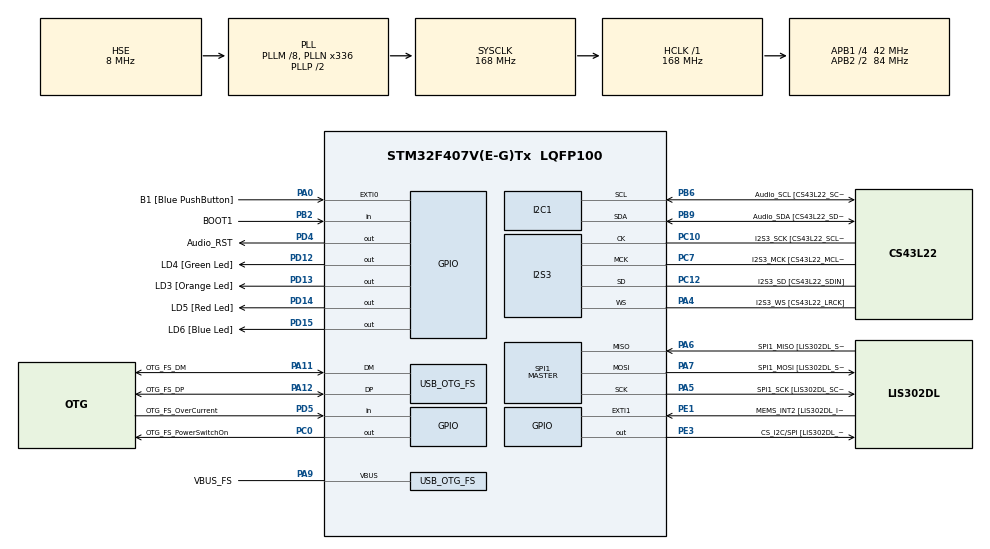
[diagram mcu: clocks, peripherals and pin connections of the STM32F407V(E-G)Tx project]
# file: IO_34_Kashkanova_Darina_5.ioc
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I2S3.AudioFreq-Half_Duplex_Master=I2S_AUDIOFREQ_96K
I2S3.ErrorAudioFreq=-2.34 %
I2S3.ErrorAudioFreq-Half_Duplex_Master=0.8 %
I2S3.FullDuplexMode=I2S_FULLDUPLEXMODE_DISABLE
I2S3.Instance=SPI$Index
I2S3.RealAudioFreq=93.75 KHz
I2S3.RealAudioFreq-Half_Duplex_Master=96.774 KHz
I2S3.VirtualMode=I2S_MODE_MASTER
Mcu.Family=STM32F4
Mcu.Name=STM32F407V(E-G)Tx
Mcu.Package=LQFP100
NVIC.OTG_FS_IRQn=true\:0\:0\:false\:false\:true\:true\:true\:true
NVIC.PriorityGroup=NVIC_PRIORITYGROUP_0
PA0-WKUP.GPIO_Label=B1 [Blue PushButton]
PA0-WKUP.GPIO_ModeDefaultEXTI=GPIO_MODE_EVT_RISING
PA0-WKUP.GPIO_PuPd=GPIO_NOPULL
PA0-WKUP.Signal=GPXTI0
PA10.GPIO_Label=OTG_FS_ID
PA10.GPIO_Mode=GPIO_MODE_AF_PP
PA10.GPIO_PuPd=GPIO_NOPULL
PA10.GPIO_Speed=GPIO_SPEED_FREQ_LOW
PA10.Signal=USB_OTG_FS_ID
PA11.GPIO_Label=OTG_FS_DM
PA11.GPIO_Mode=GPIO_MODE_AF_PP
PA11.GPIO_PuPd=GPIO_NOPULL
PA11.GPIO_Speed=GPIO_SPEED_FREQ_LOW
PA11.Mode=Host_Only
PA11.Signal=USB_OTG_FS_DM
PA12.GPIO_Label=OTG_FS_DP
PA12.GPIO_Mode=GPIO_MODE_AF_PP
PA12.GPIO_PuPd=GPIO_NOPULL
PA12.GPIO_Speed=GPIO_SPEED_FREQ_LOW
PA12.Mode=Host_Only
PA12.Signal=USB_OTG_FS_DP
PA13.GPIO_Label=SWDIO
PA13.Mode=Serial_Wire
PA13.Signal=SYS_JTMS-SWDIO
PA14.GPIO_Label=SWCLK
PA14.Mode=Serial_Wire
PA14.Signal=SYS_JTCK-SWCLK
PA4.GPIO_Label=I2S3_WS [CS43L22_LRCK]
PA4.GPIO_Mode=GPIO_MODE_AF_PP
PA4.GPIO_PuPd=GPIO_NOPULL
PA4.GPIO_Speed=GPIO_SPEED_FREQ_LOW
PA4.Mode=Half_Duplex_Master
PA4.Signal=I2S3_WS
PA5.GPIO_Label=SPI1_SCK [LIS302DL_SCL/SPC]
PA5.GPIO_Mode=GPIO_MODE_AF_PP
PA5.GPIO_PuPd=GPIO_NOPULL
PA5.GPIO_Speed=GPIO_SPEED_FREQ_LOW
PA5.Mode=Full_Duplex_Master
PA5.Signal=SPI1_SCK
PA6.GPIO_Label=SPI1_MISO [LIS302DL_SDO]
PA6.GPIO_Mode=GPIO_MODE_AF_PP
PA6.GPIO_PuPd=GPIO_NOPULL
PA6.GPIO_Speed=GPIO_SPEED_FREQ_LOW
PA6.Mode=Full_Duplex_Master
PA6.Signal=SPI1_MISO
PA7.GPIO_Label=SPI1_MOSI [LIS302DL_SDA/SDI/SDO]
PA7.GPIO_Mode=GPIO_MODE_AF_PP
PA7.GPIO_PuPd=GPIO_NOPULL
PA7.GPIO_Speed=GPIO_SPEED_FREQ_LOW
PA7.Mode=Full_Duplex_Master
PA7.Signal=SPI1_MOSI
PA9.GPIO_Label=VBUS_FS
PA9.GPIO_Mode=GPIO_MODE_INPUT
PA9.GPIO_PuPd=GPIO_NOPULL
PA9.Mode=Activate_VBUS
PA9.Signal=USB_OTG_FS_VBUS
PB10.GPIO_Label=CLK_IN [MP45DT02_CLK]
PB10.GPIO_Mode=GPIO_MODE_AF_PP
PB10.GPIO_PuPd=GPIO_NOPULL
PB10.GPIO_Speed=GPIO_SPEED_FREQ_LOW
PB10.Signal=I2S2_CK
PB2.GPIO_Label=BOOT1
PB2.GPIO_Mode=GPIO_MODE_INPUT
PB2.GPIO_PuPd=GPIO_NOPULL
PB2.Signal=GPIO_Input
PB3.GPIO_Label=SWO
PB3.Signal=SYS_JTDO-SWO
PB6.GPIO_Label=Audio_SCL [CS43L22_SCL]
PB6.GPIO_Mode=GPIO_MODE_AF_OD
PB6.GPIO_Pu=GPIO_PULLUP
PB6.GPIO_PuPd=GPIO_NOPULL
PB6.GPIO_Speed=GPIO_SPEED_FREQ_LOW
PB6.Mode=I2C
PB6.Signal=I2C1_SCL
PB9.GPIO_Label=Audio_SDA [CS43L22_SDA]
PB9.GPIO_Mode=GPIO_MODE_AF_OD
PB9.GPIO_Pu=GPIO_PULLUP
PB9.GPIO_PuPd=GPIO_NOPULL
PB9.GPIO_Speed=GPIO_SPEED_FREQ_LOW
PB9.Mode=I2C
PB9.Signal=I2C1_SDA
PC0.GPIO_Label=OTG_FS_PowerSwitchOn
PC0.GPIO_PuPd=GPIO_NOPULL
PC0.GPIO_Speed=GPIO_SPEED_FREQ_LOW
PC0.PinState=GPIO_PIN_SET
PC0.Signal=GPIO_Output
PC10.GPIO_Label=I2S3_SCK [CS43L22_SCLK]
PC10.GPIO_Mode=GPIO_MODE_AF_PP
PC10.GPIO_PuPd=GPIO_NOPULL
PC10.GPIO_Speed=GPIO_SPEED_FREQ_LOW
PC10.Mode=Half_Duplex_Master
PC10.Signal=I2S3_CK
PC12.GPIO_Label=I2S3_SD [CS43L22_SDIN]
PC12.GPIO_Mode=GPIO_MODE_AF_PP
PC12.GPIO_PuPd=GPIO_NOPULL
PC12.GPIO_Speed=GPIO_SPEED_FREQ_LOW
PC12.Mode=Half_Duplex_Master
PC12.Signal=I2S3_SD
PC14-OSC32_IN.GPIO_Label=PC14-OSC32_IN
PC14-OSC32_IN.Mode=LSE-External-Oscillator
PC14-OSC32_IN.Signal=RCC_OSC32_IN
PC15-OSC32_OUT.GPIO_Label=PC15-OSC32_OUT
PC15-OSC32_OUT.Mode=LSE-External-Oscillator
PC15-OSC32_OUT.Signal=RCC_OSC32_OUT
PC3.GPIO_Label=PDM_OUT [MP45DT02_DOUT]
PC3.GPIO_Mode=GPIO_MODE_AF_PP
PC3.GPIO_PuPd=GPIO_NOPULL
PC3.GPIO_Speed=GPIO_SPEED_FREQ_LOW
PC3.Signal=I2S2_SD
PC7.GPIO_Label=I2S3_MCK [CS43L22_MCLK]
PC7.GPIO_Mode=GPIO_MODE_AF_PP
PC7.GPIO_PuPd=GPIO_NOPULL
PC7.GPIO_Speed=GPIO_SPEED_FREQ_LOW
PC7.Mode=Master_Clock_Activated
PC7.Signal=I2S3_MCK
PD12.GPIO_Label=LD4 [Green Led]
PD12.GPIO_PuPd=GPIO_NOPULL
PD12.GPIO_Speed=GPIO_SPEED_FREQ_LOW
PD12.Signal=GPIO_Output
PD13.GPIO_Label=LD3 [Orange Led]
PD13.GPIO_PuPd=GPIO_NOPULL
PD13.GPIO_Speed=GPIO_SPEED_FREQ_LOW
PD13.Signal=GPIO_Output
PD14.GPIO_Label=LD5 [Red Led]
PD14.GPIO_PuPd=GPIO_NOPULL
PD14.GPIO_Speed=GPIO_SPEED_FREQ_LOW
PD14.Signal=GPIO_Output
PD15.GPIO_Label=LD6 [Blue Led]
PD15.GPIO_PuPd=GPIO_NOPULL
PD15.GPIO_Speed=GPIO_SPEED_FREQ_LOW
PD15.Signal=GPIO_Output
PD4.GPIO_Label=Audio_RST
PD4.Signal=GPIO_Output
PD5.GPIO_Label=OTG_FS_OverCurrent
PD5.GPIO_Mode=GPIO_MODE_INPUT
PD5.GPIO_PuPd=GPIO_NOPULL
PD5.Signal=GPIO_Input
PE1.GPIO_Label=MEMS_INT2 [LIS302DL_INT2]
PE1.GPIO_ModeDefaultEXTI=GPIO_MODE_EVT_RISING
PE1.GPIO_PuPd=GPIO_NOPULL
PE1.Signal=GPXTI1
PE3.GPIO_Label=CS_I2C/SPI [LIS302DL_CS_I2C/SPI]
PE3.GPIO_PuPd=GPIO_NOPULL
PE3.GPIO_Speed=GPIO_SPEED_FREQ_LOW
PE3.Signal=GPIO_Output
PH0-OSC_IN.GPIO_Label=PH0-OSC_IN
PH0-OSC_IN.Mode=HSE-External-Oscillator
PH0-OSC_IN.Signal=RCC_OSC_IN
PH1-OSC_OUT.GPIO_Label=PH1-OSC_OUT
PH1-OSC_OUT.Mode=HSE-External-Oscillator
PH1-OSC_OUT.Signal=RCC_OSC_OUT
ProjectManager.HeapSize=0x200
ProjectManager.StackSize=0x400
ProjectManager.TargetToolchain=STM32CubeIDE
RCC.48MHZClocksFreq_Value=48000000
RCC.AHBFreq_Value=168000000
RCC.APB1CLKDivider=RCC_HCLK_DIV4
RCC.APB1Freq_Value=42000000
RCC.APB1TimFreq_Value=84000000
RCC.APB2CLKDivider=RCC_HCLK_DIV2
RCC.APB2Freq_Value=84000000
RCC.APB2TimFreq_Value=168000000
RCC.CortexFreq_Value=168000000
RCC.HCLKFreq_Value=168000000
RCC.HSE_VALUE=8000000
RCC.HSI_VALUE=16000000
RCC.PLLM=8
RCC.PLLN=336
RCC.PLLQ=7
RCC.SYSCLKFreq_VALUE=168000000
RCC.SYSCLKSource=RCC_SYSCLKSOURCE_PLLCLK
RCC.VCOOutputFreq_Value=336000000
SPI1.BaudRatePrescaler-Full_Duplex_Master=SPI_BAUDRATEPRESCALER_2
SPI1.CalculateBaudRate-Full_Duplex_Master=42.0 MBits/s
SPI1.Direction=SPI_DIRECTION_2LINES
SPI1.Mode=SPI_MODE_MASTER
SPI1.Mode-Full_Duplex_Master=SPI_MODE_MASTER
SPI1.VirtualType=VM_MASTER
USB_HOST.BSP.number=1
USB_HOST.USBH_HandleTypeDef-CDC_FS=hUsbHostFS
USB_HOST.VirtualModeFS=Cdc
USB_HOST0.BSP.STBoard=false
USB_HOST0.BSP.api=Unknown
USB_HOST0.BSP.instance=PC0
USB_HOST0.BSP.ip=GPIO
USB_HOST0.BSP.mode=Output
USB_HOST0.BSP.name=Drive_VBUS_FS
USB_HOST0.BSP.solution=PC0
USB_OTG_FS.VirtualMode=Host_Only
USB_OTG_FS.phy_itface=HCD_PHY_EMBEDDED
VP_USB_HOST_VS_USB_HOST_CDC_FS.Mode=CDC_FS
board=STM32F407G-DISC1

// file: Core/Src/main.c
/* USER CODE BEGIN Header */
/**
  ******************************************************************************
  * @file           : main.c
  * @brief          : Main program body
  ******************************************************************************
  * @attention
  *
  * Copyright (c) 2026 STMicroelectronics.
  * All rights reserved.
  *
  * This software is licensed under terms that can be found in the LICENSE file
  * in the root directory of this software component.
  * If no LICENSE file comes with this software, it is provided AS-IS.
  *
  ******************************************************************************
  */
/* USER CODE END Header */
#include "main.h"
#include "usb_host.h"

I2C_HandleTypeDef hi2c1;

I2S_HandleTypeDef hi2s3;

SPI_HandleTypeDef hspi1;

void SystemClock_Config(void);
static void MX_GPIO_Init(void);
static void MX_I2C1_Init(void);
static void MX_I2S3_Init(void);
static void MX_SPI1_Init(void);
void MX_USB_HOST_Process(void);

/* USER CODE BEGIN PFP */
#define CS43L22_I2C_ADDR 0x94

void CS43L22_Write(uint8_t reg, uint8_t value) {
    uint8_t data[2] = {reg, value};
    HAL_I2C_Master_Transmit(&hi2c1, CS43L22_I2C_ADDR, data, 2, 100);
}

void CS43L22_Init(void) {

    HAL_GPIO_WritePin(GPIOD, Audio_RST_Pin, GPIO_PIN_SET);
    HAL_Delay(10);

    CS43L22_Write(0x02, 0x9E);
    CS43L22_Write(0x04, 0xAF);
    CS43L22_Write(0x1D, 0x05);
}

void Play_Note(uint8_t pitch, uint32_t duration) {
    CS43L22_Write(0x1C, pitch << 4);
    CS43L22_Write(0x1E, 0xC0);
    HAL_Delay(duration);
    CS43L22_Write(0x1E, 0x00);
}
/* USER CODE END PFP */

int main(void)
{

  /* MCU Configuration--------------------------------------------------------*/

  /* Reset of all peripherals, Initializes the Flash interface and the Systick. */
  HAL_Init();

  /* Configure the system clock */
  SystemClock_Config();

  /* Initialize all configured peripherals */
  MX_GPIO_Init();
  MX_I2C1_Init();
  MX_I2S3_Init();
  MX_SPI1_Init();
  MX_USB_HOST_Init();
  /* USER CODE BEGIN 2 */
    CS43L22_Init();
    int plays = 0;
    uint8_t melody[] = {0, 2, 4, 5, 7, 9, 11, 12};
  /* USER CODE END 2 */

  /* Infinite loop */
    /* USER CODE BEGIN WHILE */
      while (1)
      {
        if (plays < 3) {
            for (int i = 0; i < 8; i++) {
                uint16_t led = (GPIO_PIN_12 << (i % 4));
                HAL_GPIO_WritePin(GPIOD, led, GPIO_PIN_SET);

                Play_Note(melody[i], 250);

                HAL_GPIO_WritePin(GPIOD, led, GPIO_PIN_RESET);
                HAL_Delay(50);
            }
            plays++;
            HAL_Delay(1000);
        }

        /* USER CODE END WHILE */
        MX_USB_HOST_Process();

      }
  }

void SystemClock_Config(void)
{
  RCC_OscInitTypeDef RCC_OscInitStruct = {0};
  RCC_ClkInitTypeDef RCC_ClkInitStruct = {0};

  /** Configure the main internal regulator output voltage
  */
  __HAL_RCC_PWR_CLK_ENABLE();
  __HAL_PWR_VOLTAGESCALING_CONFIG(PWR_REGULATOR_VOLTAGE_SCALE1);

  /** Initializes the RCC Oscillators according to the specified parameters
  * in the RCC_OscInitTypeDef structure.
  */
  RCC_OscInitStruct.OscillatorType = RCC_OSCILLATORTYPE_HSE;
  RCC_OscInitStruct.HSEState = RCC_HSE_ON;
  RCC_OscInitStruct.PLL.PLLState = RCC_PLL_ON;
  RCC_OscInitStruct.PLL.PLLSource = RCC_PLLSOURCE_HSE;
  RCC_OscInitStruct.PLL.PLLM = 8;
  RCC_OscInitStruct.PLL.PLLN = 336;
  RCC_OscInitStruct.PLL.PLLP = RCC_PLLP_DIV2;
  RCC_OscInitStruct.PLL.PLLQ = 7;
  if (HAL_RCC_OscConfig(&RCC_OscInitStruct) != HAL_OK)
  {
    Error_Handler();
  }

  /** Initializes the CPU, AHB and APB buses clocks
  */
  RCC_ClkInitStruct.ClockType = RCC_CLOCKTYPE_HCLK|RCC_CLOCKTYPE_SYSCLK
                              |RCC_CLOCKTYPE_PCLK1|RCC_CLOCKTYPE_PCLK2;
  RCC_ClkInitStruct.SYSCLKSource = RCC_SYSCLKSOURCE_PLLCLK;
  RCC_ClkInitStruct.AHBCLKDivider = RCC_SYSCLK_DIV1;
  RCC_ClkInitStruct.APB1CLKDivider = RCC_HCLK_DIV4;
  RCC_ClkInitStruct.APB2CLKDivider = RCC_HCLK_DIV2;

  if (HAL_RCC_ClockConfig(&RCC_ClkInitStruct, FLASH_LATENCY_5) != HAL_OK)
  {
    Error_Handler();
  }
}

static void MX_I2C1_Init(void)
{

  hi2c1.Instance = I2C1;
  hi2c1.Init.ClockSpeed = 100000;
  hi2c1.Init.DutyCycle = I2C_DUTYCYCLE_2;
  hi2c1.Init.OwnAddress1 = 0;
  hi2c1.Init.AddressingMode = I2C_ADDRESSINGMODE_7BIT;
  hi2c1.Init.DualAddressMode = I2C_DUALADDRESS_DISABLE;
  hi2c1.Init.OwnAddress2 = 0;
  hi2c1.Init.GeneralCallMode = I2C_GENERALCALL_DISABLE;
  hi2c1.Init.NoStretchMode = I2C_NOSTRETCH_DISABLE;
  if (HAL_I2C_Init(&hi2c1) != HAL_OK)
  {
    Error_Handler();
  }

}

static void MX_I2S3_Init(void)
{

  hi2s3.Instance = SPI3;
  hi2s3.Init.Mode = I2S_MODE_MASTER_TX;
  hi2s3.Init.Standard = I2S_STANDARD_PHILIPS;
  hi2s3.Init.DataFormat = I2S_DATAFORMAT_16B;
  hi2s3.Init.MCLKOutput = I2S_MCLKOUTPUT_ENABLE;
  hi2s3.Init.AudioFreq = I2S_AUDIOFREQ_96K;
  hi2s3.Init.CPOL = I2S_CPOL_LOW;
  hi2s3.Init.ClockSource = I2S_CLOCK_PLL;
  hi2s3.Init.FullDuplexMode = I2S_FULLDUPLEXMODE_DISABLE;
  if (HAL_I2S_Init(&hi2s3) != HAL_OK)
  {
    Error_Handler();
  }

}

static void MX_SPI1_Init(void)
{

  /* SPI1 parameter configuration*/
  hspi1.Instance = SPI1;
  hspi1.Init.Mode = SPI_MODE_MASTER;
  hspi1.Init.Direction = SPI_DIRECTION_2LINES;
  hspi1.Init.DataSize = SPI_DATASIZE_8BIT;
  hspi1.Init.CLKPolarity = SPI_POLARITY_LOW;
  hspi1.Init.CLKPhase = SPI_PHASE_1EDGE;
  hspi1.Init.NSS = SPI_NSS_SOFT;
  hspi1.Init.BaudRatePrescaler = SPI_BAUDRATEPRESCALER_2;
  hspi1.Init.FirstBit = SPI_FIRSTBIT_MSB;
  hspi1.Init.TIMode = SPI_TIMODE_DISABLE;
  hspi1.Init.CRCCalculation = SPI_CRCCALCULATION_DISABLE;
  hspi1.Init.CRCPolynomial = 10;
  if (HAL_SPI_Init(&hspi1) != HAL_OK)
  {
    Error_Handler();
  }

}

static void MX_GPIO_Init(void)
{
  GPIO_InitTypeDef GPIO_InitStruct = {0};

  /* GPIO Ports Clock Enable */
  __HAL_RCC_GPIOE_CLK_ENABLE();
  __HAL_RCC_GPIOC_CLK_ENABLE();
  __HAL_RCC_GPIOH_CLK_ENABLE();
  __HAL_RCC_GPIOA_CLK_ENABLE();
  __HAL_RCC_GPIOB_CLK_ENABLE();
  __HAL_RCC_GPIOD_CLK_ENABLE();

  /*Configure GPIO pin Output Level */
  HAL_GPIO_WritePin(CS_I2C_SPI_GPIO_Port, CS_I2C_SPI_Pin, GPIO_PIN_RESET);

  /*Configure GPIO pin Output Level */
  HAL_GPIO_WritePin(OTG_FS_PowerSwitchOn_GPIO_Port, OTG_FS_PowerSwitchOn_Pin, GPIO_PIN_SET);

  /*Configure GPIO pin Output Level */
  HAL_GPIO_WritePin(GPIOD, LD4_Pin|LD3_Pin|LD5_Pin|LD6_Pin
                          |Audio_RST_Pin, GPIO_PIN_RESET);

  /*Configure GPIO pin : CS_I2C_SPI_Pin */
  GPIO_InitStruct.Pin = CS_I2C_SPI_Pin;
  GPIO_InitStruct.Mode = GPIO_MODE_OUTPUT_PP;
  GPIO_InitStruct.Pull = GPIO_NOPULL;
  GPIO_InitStruct.Speed = GPIO_SPEED_FREQ_LOW;
  HAL_GPIO_Init(CS_I2C_SPI_GPIO_Port, &GPIO_InitStruct);

  /*Configure GPIO pin : OTG_FS_PowerSwitchOn_Pin */
  GPIO_InitStruct.Pin = OTG_FS_PowerSwitchOn_Pin;
  GPIO_InitStruct.Mode = GPIO_MODE_OUTPUT_PP;
  GPIO_InitStruct.Pull = GPIO_NOPULL;
  GPIO_InitStruct.Speed = GPIO_SPEED_FREQ_LOW;
  HAL_GPIO_Init(OTG_FS_PowerSwitchOn_GPIO_Port, &GPIO_InitStruct);

  /*Configure GPIO pin : PDM_OUT_Pin */
  GPIO_InitStruct.Pin = PDM_OUT_Pin;
  GPIO_InitStruct.Mode = GPIO_MODE_AF_PP;
  GPIO_InitStruct.Pull = GPIO_NOPULL;
  GPIO_InitStruct.Speed = GPIO_SPEED_FREQ_LOW;
  GPIO_InitStruct.Alternate = GPIO_AF5_SPI2;
  HAL_GPIO_Init(PDM_OUT_GPIO_Port, &GPIO_InitStruct);

  /*Configure GPIO pin : B1_Pin */
  GPIO_InitStruct.Pin = B1_Pin;
  GPIO_InitStruct.Mode = GPIO_MODE_EVT_RISING;
  GPIO_InitStruct.Pull = GPIO_NOPULL;
  HAL_GPIO_Init(B1_GPIO_Port, &GPIO_InitStruct);

  /*Configure GPIO pin : BOOT1_Pin */
  GPIO_InitStruct.Pin = BOOT1_Pin;
  GPIO_InitStruct.Mode = GPIO_MODE_INPUT;
  GPIO_InitStruct.Pull = GPIO_NOPULL;
  HAL_GPIO_Init(BOOT1_GPIO_Port, &GPIO_InitStruct);

  /*Configure GPIO pin : CLK_IN_Pin */
  GPIO_InitStruct.Pin = CLK_IN_Pin;
  GPIO_InitStruct.Mode = GPIO_MODE_AF_PP;
  GPIO_InitStruct.Pull = GPIO_NOPULL;
  GPIO_InitStruct.Speed = GPIO_SPEED_FREQ_LOW;
  GPIO_InitStruct.Alternate = GPIO_AF5_SPI2;
  HAL_GPIO_Init(CLK_IN_GPIO_Port, &GPIO_InitStruct);

  /*Configure GPIO pins : LD4_Pin LD3_Pin LD5_Pin LD6_Pin
                           Audio_RST_Pin */
  GPIO_InitStruct.Pin = LD4_Pin|LD3_Pin|LD5_Pin|LD6_Pin
                          |Audio_RST_Pin;
  GPIO_InitStruct.Mode = GPIO_MODE_OUTPUT_PP;
  GPIO_InitStruct.Pull = GPIO_NOPULL;
  GPIO_InitStruct.Speed = GPIO_SPEED_FREQ_LOW;
  HAL_GPIO_Init(GPIOD, &GPIO_InitStruct);

  /*Configure GPIO pin : OTG_FS_OverCurrent_Pin */
  GPIO_InitStruct.Pin = OTG_FS_OverCurrent_Pin;
  GPIO_InitStruct.Mode = GPIO_MODE_INPUT;
  GPIO_InitStruct.Pull = GPIO_NOPULL;
  HAL_GPIO_Init(OTG_FS_OverCurrent_GPIO_Port, &GPIO_InitStruct);

  /*Configure GPIO pin : MEMS_INT2_Pin */
  GPIO_InitStruct.Pin = MEMS_INT2_Pin;
  GPIO_InitStruct.Mode = GPIO_MODE_EVT_RISING;
  GPIO_InitStruct.Pull = GPIO_NOPULL;
  HAL_GPIO_Init(MEMS_INT2_GPIO_Port, &GPIO_InitStruct);

}

void Error_Handler(void)
{
  __disable_irq();
  while (1)
  {
  }
}
